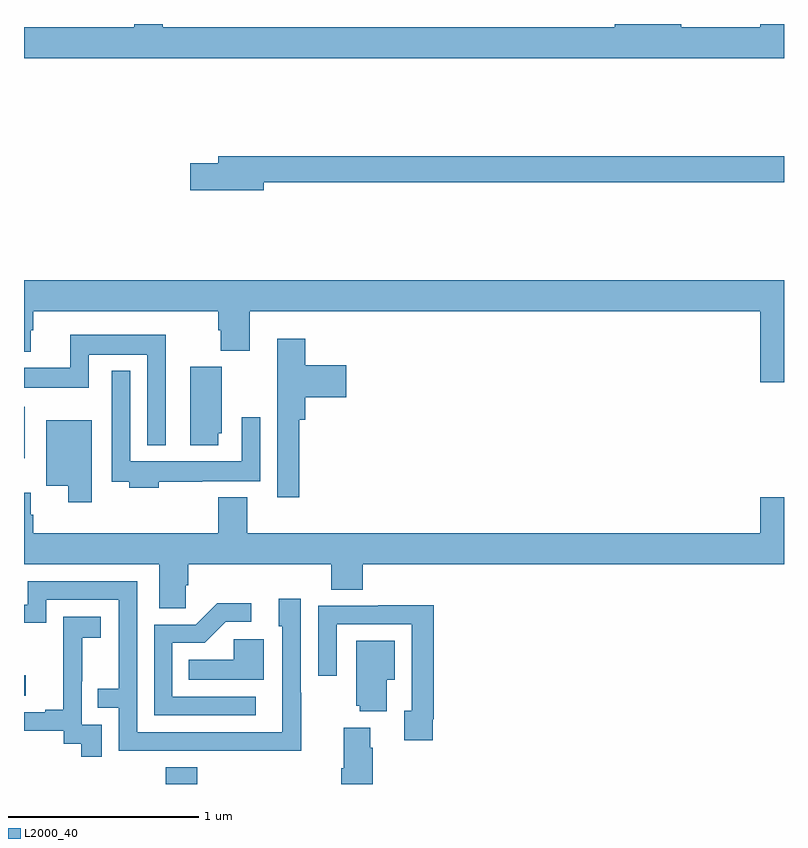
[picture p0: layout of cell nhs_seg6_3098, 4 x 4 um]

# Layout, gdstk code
import gdstk
lib = gdstk.Library(unit=1e-6, precision=1e-09)
def R(c, l, rs):  # rectangles x0, y0, x1, y1
    for r in rs: c.add(gdstk.rectangle(r[:2], r[2:], *l))
def P(c, l, *ps):  # polygons
    for p in ps: c.add(gdstk.Polygon(p, *l))
L2000_40 = (2000, 40)

nhs_seg6_3098 = lib.new_cell('nhs_seg6_3098')
R(nhs_seg6_3098, L2000_40, [(293.747,959.5,293.912,959.587), (293,959.964,293.008,960.073), (293,961.214,293.005,961.486)])
P(nhs_seg6_3098, L2000_40, [(297,963.5),(296.876,963.5),(296.876,963.484),(296.458,963.484),(296.458,963.5),(296.108,963.5),(296.108,963.484),(293.731,963.484),(293.731,963.5),(293.579,963.5),(293.579,963.484),(293,963.484),(293,963.32),(297,963.32)],
  [(294.262,962.668),(297,962.668),(297,962.804),(294.023,962.804),(294.023,962.768),(293.874,962.768),(293.874,962.626),(294.262,962.626)],
  [(297,962.152),(293,962.152),(293,961.775),(293.035,961.775),(293.035,961.887),(293.048,961.887),(293.048,961.988),(294.023,961.988),(294.023,961.889),(294.035,961.889),(294.035,961.78),(294.188,961.78),(294.188,961.988),(296.876,961.988),(296.876,961.614),(297,961.614)],
  [(293.746,961.864),(293.243,961.864),(293.243,961.69),(293,961.69),(293,961.586),(293.34,961.586),(293.34,961.76),(293.649,961.76),(293.649,961.283),(293.746,961.283)],
  [(294.449,961.418),(294.479,961.418),(294.479,961.535),(294.697,961.535),(294.697,961.705),(294.479,961.705),(294.479,961.843),(294.332,961.843),(294.332,961.551),(294.333,961.551),(294.333,961.008),(294.449,961.008)],
  [(294.022,961.347),(294.04,961.347),(294.04,961.695),(293.876,961.695),(293.876,961.284),(294.022,961.284)],
  [(293.708,961.092),(293.939,961.092),(293.939,961.094),(294.243,961.094),(294.243,961.429),(294.147,961.429),(294.147,961.198),(293.559,961.198),(293.559,961.675),(293.463,961.675),(293.463,961.092),(293.555,961.092),(293.555,961.058),(293.708,961.058)],
  [(293.356,961.414),(293.117,961.414),(293.117,961.07),(293.234,961.07),(293.234,960.984),(293.356,960.984)],
  [(293.85,960.547),(293.864,960.547),(293.864,960.656),(294.617,960.656),(294.617,960.523),(294.782,960.523),(294.782,960.656),(297,960.656),(297,961.009),(296.876,961.009),(296.876,960.82),(294.175,960.82),(294.175,961.009),(294.023,961.009),(294.023,960.82),(293.048,960.82),(293.048,960.918),(293.035,960.918),(293.035,961.033),(293,961.033),(293,960.656),(293.711,960.656),(293.711,960.424),(293.85,960.424)],
  [(294.459,959.981),(294.456,959.981),(294.456,960.475),(294.341,960.475),(294.341,960.33),(294.36,960.33),(294.36,960.026),(294.359,960.026),(294.359,959.772),(293.595,959.772),(293.595,960.567),(293.021,960.567),(293.021,960.444),(293,960.444),(293,960.348),(293.118,960.348),(293.118,960.471),(293.499,960.471),(293.499,960.002),(293.389,960.002),(293.389,959.901),(293.499,959.901),(293.499,959.676),(293.995,959.676),(293.995,959.675),(294.459,959.675)],
  [(294.22,959.958),(293.781,959.958),(293.781,960.243),(293.95,960.243),(294.061,960.354),(294.196,960.354),(294.196,960.452),(294.017,960.452),(293.904,960.339),(293.685,960.339),(293.685,959.862),(294.22,959.862)],
  [(295.15,959.842),(295.157,959.842),(295.157,960.44),(294.865,960.44),(294.865,960.438),(294.549,960.438),(294.549,960.069),(294.645,960.069),(294.645,960.342),(295.041,960.342),(295.041,959.886),(295.001,959.886),(295.001,959.73),(295.15,959.73)],
  [(293.409,959.811),(293.304,959.811),(293.304,960.041),(293.306,960.041),(293.306,960.269),(293.404,960.269),(293.404,960.379),(293.206,960.379),(293.206,960.173),(293.207,960.173),(293.207,959.89),(293.111,959.89),(293.111,959.877),(293,959.877),(293,959.781),(293.208,959.781),(293.208,959.713),(293.301,959.713),(293.301,959.643),(293.409,959.643)],
  [(294.262,960.262),(294.105,960.262),(294.105,960.154),(293.866,960.154),(293.866,960.05),(294.262,960.05)],
  [(294.91,960.05),(294.952,960.05),(294.952,960.253),(294.749,960.253),(294.749,959.913),(294.767,959.913),(294.767,959.882),(294.91,959.882)],
  [(294.836,959.69),(294.823,959.69),(294.823,959.797),(294.683,959.797),(294.683,959.584),(294.671,959.584),(294.671,959.5),(294.836,959.5)])

lib.write_gds('nhs_seg6_3098.gds')
